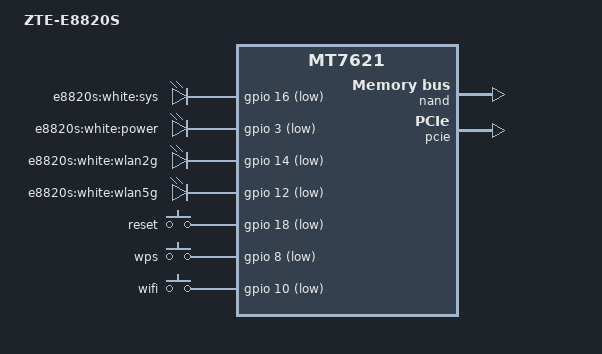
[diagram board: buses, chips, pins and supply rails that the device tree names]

/dts-v1/;

#include "mt7621.dtsi"

#include <dt-bindings/gpio/gpio.h>
#include <dt-bindings/input/input.h>

/ {
	compatible = "zte,e8820s", "mediatek,mt7621-soc";
	model = "ZTE-E8820S";

	aliases {
		led-boot = &led_sys;
		led-failsafe = &led_sys;
		led-running = &led_power;
		led-upgrade = &led_power;
	};

	chosen {
		bootargs = "console=ttyS0,115200";
	};

	leds {
		compatible = "gpio-leds";

		led_sys: sys {
			label = "e8820s:white:sys";
			gpios = <&gpio 16 GPIO_ACTIVE_LOW>;
		};

		led_power: power {
			label = "e8820s:white:power";
			gpios = <&gpio 3 GPIO_ACTIVE_LOW>;                                       
		};

		wlan2g {
			label = "e8820s:white:wlan2g";
			gpios = <&gpio 14 GPIO_ACTIVE_LOW>;
		};

		wlan5g {
			label = "e8820s:white:wlan5g";
			gpios = <&gpio 12 GPIO_ACTIVE_LOW>;
		};
	};

	keys {
		compatible = "gpio-keys";

		reset {
			label = "reset";
			gpios = <&gpio 18 GPIO_ACTIVE_LOW>;
			linux,code = <KEY_RESTART>;
		};
                wps {
                        label = "wps";
                        gpios = <&gpio 8 GPIO_ACTIVE_LOW>;
                        linux,code = <KEY_WPS_BUTTON>;
                };
		wifi {
			label = "wifi";
			gpios = <&gpio 10 GPIO_ACTIVE_LOW>;
			linux,code = <KEY_RFKILL>;
		};
	};
};

&nand {
	status = "okay";

	partitions {
		compatible = "fixed-partitions";
		#address-cells = <1>;
		#size-cells = <1>;

		partition@0 {
			label = "u-boot";
			reg = <0x0 0x80000>;
			read-only;
		};

		partition@80000 {
			label = "debug";
			reg = <0x80000 0x80000>;
			read-only;
		};

		factory: partition@100000 {
			label = "factory";
			reg = <0x100000 0x40000>;
			read-only;
		};

		partition@140000 {
			label = "kernel";
			reg = <0x140000 0x200000>;
		};

		partition@340000 {
			label = "ubi";
			reg = <0x340000 0x1E00000>;
		};

		partition@2140000 {
			label = "hw_panic";
			reg = <0x2140000 0x80000>;
			read-only;
		};

		partition@21c0000 {
			label = "bdinfo";
			reg = <0x21c0000 0x80000>;
			read-only;
		};

		partition@2240000 {
			label = "backup";
			reg = <0x2240000 0x80000>;
			read-only;
		};

		partition@22c0000 {
			label = "overly";
			reg = <0x22c0000 0x1000000>;
		};

		partition@32c0000 {
			label = "firmware_backup";
			reg = <0x32c0000 0x2000000>;
		};

		partition@52c0000 {
			label = "oem";
			reg = <0x52c0000 0x200000>;
		};

		partition@54c0000 {
			label = "opt";
			reg = <0x54c0000 0x2ac0000>;
		};
	};
};

&pcie {
	status = "okay";
};

&pcie0 {
	mt76@0,0 {
		reg = <0x0000 0 0 0 0>;
		mediatek,mtd-eeprom = <&factory 0x0000>;
		ieee80211-freq-limit = <2400000 2500000>;
	};
};

&pcie1 {
	mt76@0,0 {
		reg = <0x0000 0 0 0 0>;
		mediatek,mtd-eeprom = <&factory 0x8000>;
		ieee80211-freq-limit = <5000000 6000000>;
	};
};

&pinctrl {
	state_default: pinctrl0 {
		gpio {
			ralink,group = "uart3", "jtag";
			ralink,function = "gpio";
		};
	};
};
